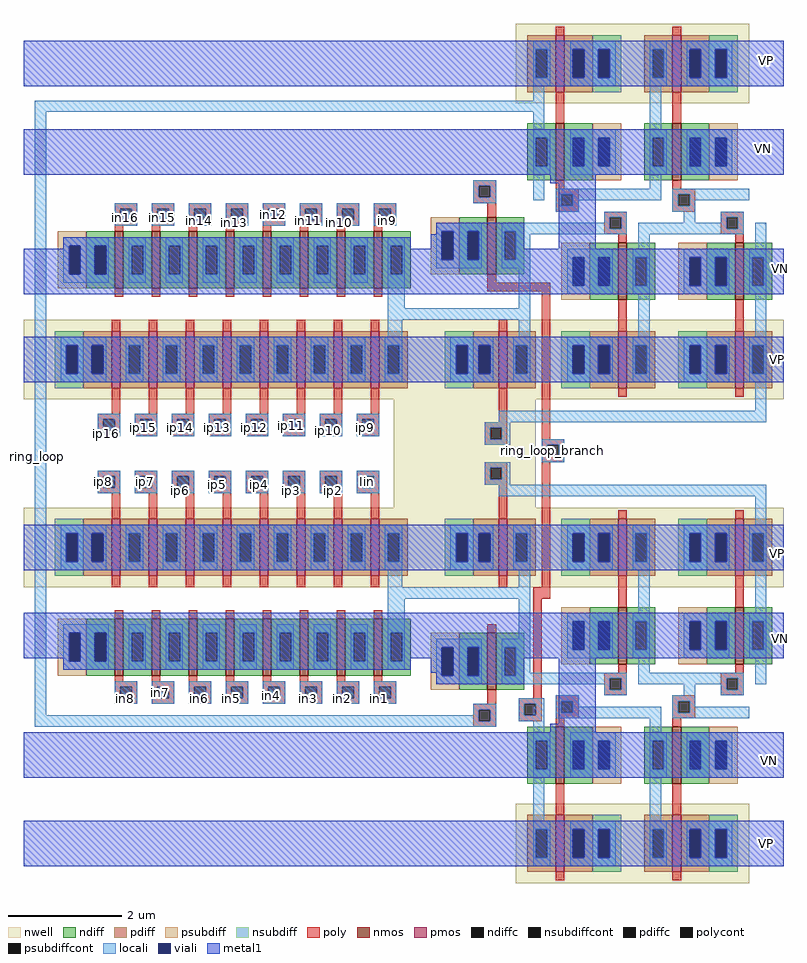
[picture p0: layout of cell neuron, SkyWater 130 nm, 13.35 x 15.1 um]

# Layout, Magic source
magic
tech sky130A
<< poly >>
rect 780 1040 890 1055
rect 875 780 890 1040
rect 875 770 915 780
rect 875 750 885 770
rect 905 750 915 770
rect 875 740 915 750
rect 550 715 590 725
rect 550 695 560 715
rect 580 695 590 715
rect 550 685 590 695
rect 875 520 890 740
rect 860 500 890 520
rect 860 325 875 500
rect 835 315 875 325
rect 755 305 795 315
rect 755 285 765 305
rect 785 285 795 305
rect 835 295 845 315
rect 865 295 875 315
rect 835 285 875 295
rect 755 275 795 285
<< polycont >>
rect 885 750 905 770
rect 560 695 580 715
rect 765 285 785 305
rect 845 295 865 315
<< locali >>
rect -15 1355 880 1375
rect -15 295 5 1355
rect 1051 1200 1066 1220
rect 125 1155 165 1195
rect 190 1155 230 1195
rect 255 1155 295 1195
rect 320 1155 360 1195
rect 385 1155 425 1195
rect 450 1155 490 1195
rect 515 1155 555 1195
rect 580 1155 620 1195
rect 95 785 135 825
rect 160 785 200 825
rect 225 785 265 825
rect 290 785 330 825
rect 355 785 395 825
rect 420 785 460 825
rect 485 785 525 825
rect 550 785 590 825
rect 875 770 915 780
rect 875 750 885 770
rect 905 750 915 770
rect 875 740 915 750
rect 95 685 135 725
rect 160 685 200 725
rect 225 685 265 725
rect 290 685 330 725
rect 355 685 395 725
rect 420 685 460 725
rect 485 685 525 725
rect 550 715 590 725
rect 550 695 560 715
rect 580 695 590 715
rect 550 685 590 695
rect 125 315 165 355
rect 190 315 230 355
rect 255 315 295 355
rect 320 315 360 355
rect 385 315 425 355
rect 450 315 490 355
rect 515 315 555 355
rect 580 315 620 355
rect 1052 350 1096 370
rect 835 315 880 325
rect 755 305 795 315
rect 755 295 765 305
rect -15 285 765 295
rect 785 285 795 305
rect 835 295 845 315
rect 865 310 880 315
rect 865 295 875 310
rect 835 285 875 295
rect 1051 290 1067 310
rect -15 275 795 285
<< metal1 >>
rect 1265 1440 1275 1450
rect 1260 1285 1270 1295
rect 1290 1075 1300 1085
rect 1285 915 1295 925
rect 1285 575 1295 585
rect 1290 425 1300 435
rect 1270 210 1280 220
rect 1265 65 1275 75
use pg17Input8p8n_para_1n  pg17Input8p8n_para_1n_0
transform 1 0 895 0 1 335
box -930 -335 405 420
use pg17Input8p8n_para_1n  pg17Input8p8n_para_1n_1
transform 1 0 895 0 -1 1175
box -930 -335 405 420
<< labels >>
rlabel locali -10 750 -10 750 1 ring_loop
rlabel locali 590 325 590 325 1 in1
port 1 n
rlabel locali 525 325 525 325 1 in2
port 2 n
rlabel locali 465 325 465 325 1 in3
port 3 n
rlabel locali 400 330 400 330 1 in4
port 4 n
rlabel locali 330 325 330 325 1 in5
port 5 n
rlabel locali 275 325 275 325 1 in6
port 6 n
rlabel locali 205 335 205 335 1 in7
port 7 n
rlabel locali 145 325 145 325 1 in8
port 8 n
rlabel locali 605 1165 605 1165 1 in9
port 9 n
rlabel locali 520 1160 520 1160 1 in10
port 10 n
rlabel locali 465 1165 465 1165 1 in11
port 11 n
rlabel locali 405 1175 405 1175 1 in12
port 12 n
rlabel locali 335 1160 335 1160 1 in13
port 13 n
rlabel locali 275 1165 275 1165 1 in14
port 14 n
rlabel locali 210 1170 210 1170 1 in15
port 15 n
rlabel locali 145 1170 145 1170 1 in16
port 16 n
rlabel metal1 1270 70 1270 70 1 VP
rlabel metal1 1275 215 1275 215 1 VN
rlabel metal1 1295 430 1295 430 7 VN
rlabel metal1 1290 580 1290 580 1 VP
rlabel locali 510 690 510 690 1 ip2
port 18 n
rlabel locali 435 690 435 690 1 ip3
port 19 n
rlabel locali 380 700 380 700 1 ip4
port 20 n
rlabel locali 305 700 305 700 1 ip5
port 21 n
rlabel locali 240 690 240 690 1 ip6
port 22 n
rlabel locali 180 705 180 705 1 ip7
port 23 n
rlabel locali 105 705 105 705 1 ip8
port 24 n
rlabel locali 565 800 565 800 1 ip9
port 25 n
rlabel locali 500 795 500 795 1 ip10
port 26 n
rlabel locali 435 805 435 805 1 ip11
port 27 n
rlabel locali 370 800 370 800 1 ip12
port 28 n
rlabel locali 305 800 305 800 1 ip13
port 29 n
rlabel locali 240 800 240 800 1 ip14
port 30 n
rlabel locali 175 800 175 800 1 ip15
port 31 n
rlabel locali 110 790 110 790 1 ip16
port 32 n
rlabel metal1 1290 920 1290 920 1 VP
rlabel metal1 1295 1080 1295 1080 7 VN
rlabel metal1 1265 1290 1265 1290 1 VN
port 34 n
rlabel metal1 1270 1445 1270 1445 1 VP
port 33 n
rlabel locali 550 685 590 725 7 Iin
port 14 w
rlabel locali 565 695 565 695 1 ip1
port 17 n
rlabel locali 875 740 915 780 1 ring_loop_branch
port 35 n
<< end >>

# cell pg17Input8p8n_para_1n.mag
magic
tech sky130A
<< nwell >>
rect -280 325 -30 420
rect -930 185 -5 325
<< nmos >>
rect -770 30 -755 130
rect -705 30 -690 130
rect -640 30 -625 130
rect -575 30 -560 130
rect -510 30 -495 130
rect -445 30 -430 130
rect -380 30 -365 130
rect -315 30 -300 130
rect -115 5 -100 105
<< pmos >>
rect -775 205 -760 305
rect -710 205 -695 305
rect -645 205 -630 305
rect -580 205 -565 305
rect -515 205 -500 305
rect -450 205 -435 305
rect -385 205 -370 305
rect -320 205 -305 305
rect -95 205 -80 305
<< ndiff >>
rect -820 105 -770 130
rect -820 55 -805 105
rect -785 55 -770 105
rect -820 30 -770 55
rect -755 105 -705 130
rect -755 55 -740 105
rect -720 55 -705 105
rect -755 30 -705 55
rect -690 105 -640 130
rect -690 55 -675 105
rect -655 55 -640 105
rect -690 30 -640 55
rect -625 105 -575 130
rect -625 55 -610 105
rect -590 55 -575 105
rect -625 30 -575 55
rect -560 105 -510 130
rect -560 55 -545 105
rect -525 55 -510 105
rect -560 30 -510 55
rect -495 105 -445 130
rect -495 55 -480 105
rect -460 55 -445 105
rect -495 30 -445 55
rect -430 105 -380 130
rect -430 55 -415 105
rect -395 55 -380 105
rect -430 30 -380 55
rect -365 105 -315 130
rect -365 55 -350 105
rect -330 55 -315 105
rect -365 30 -315 55
rect -300 105 -250 130
rect -300 55 -285 105
rect -265 55 -250 105
rect -300 30 -250 55
rect -165 80 -115 105
rect -165 30 -150 80
rect -130 30 -115 80
rect -165 5 -115 30
rect -100 80 -50 105
rect -100 30 -85 80
rect -65 30 -50 80
rect -100 5 -50 30
<< pdiff >>
rect -825 280 -775 305
rect -825 230 -810 280
rect -790 230 -775 280
rect -825 205 -775 230
rect -760 280 -710 305
rect -760 230 -745 280
rect -725 230 -710 280
rect -760 205 -710 230
rect -695 280 -645 305
rect -695 230 -680 280
rect -660 230 -645 280
rect -695 205 -645 230
rect -630 280 -580 305
rect -630 230 -615 280
rect -595 230 -580 280
rect -630 205 -580 230
rect -565 280 -515 305
rect -565 230 -550 280
rect -530 230 -515 280
rect -565 205 -515 230
rect -500 280 -450 305
rect -500 230 -485 280
rect -465 230 -450 280
rect -500 205 -450 230
rect -435 280 -385 305
rect -435 230 -420 280
rect -400 230 -385 280
rect -435 205 -385 230
rect -370 280 -320 305
rect -370 230 -355 280
rect -335 230 -320 280
rect -370 205 -320 230
rect -305 280 -255 305
rect -305 230 -290 280
rect -270 230 -255 280
rect -305 205 -255 230
rect -140 280 -95 305
rect -140 230 -130 280
rect -110 230 -95 280
rect -140 205 -95 230
rect -80 280 -30 305
rect -80 230 -65 280
rect -45 230 -30 280
rect -80 205 -30 230
<< ndiffc >>
rect -805 55 -785 105
rect -740 55 -720 105
rect -675 55 -655 105
rect -610 55 -590 105
rect -545 55 -525 105
rect -480 55 -460 105
rect -415 55 -395 105
rect -350 55 -330 105
rect -285 55 -265 105
rect -150 30 -130 80
rect -85 30 -65 80
<< pdiffc >>
rect -810 230 -790 280
rect -745 230 -725 280
rect -680 230 -660 280
rect -615 230 -595 280
rect -550 230 -530 280
rect -485 230 -465 280
rect -420 230 -400 280
rect -355 230 -335 280
rect -290 230 -270 280
rect -130 230 -110 280
rect -65 230 -45 280
<< psubdiff >>
rect -870 105 -820 130
rect -870 55 -850 105
rect -830 55 -820 105
rect -870 30 -820 55
rect -215 80 -165 105
rect -215 30 -195 80
rect -175 30 -165 80
rect -215 5 -165 30
<< nsubdiff >>
rect -875 280 -825 305
rect -875 230 -855 280
rect -835 230 -825 280
rect -875 205 -825 230
rect -190 280 -140 305
rect -190 230 -170 280
rect -150 230 -140 280
rect -190 205 -140 230
<< psubdiffcont >>
rect -850 55 -830 105
rect -195 30 -175 80
<< nsubdiffcont >>
rect -855 230 -835 280
rect -170 230 -150 280
<< poly >>
rect -120 395 -80 405
rect -800 380 -760 390
rect -800 360 -790 380
rect -770 360 -760 380
rect -800 350 -760 360
rect -735 380 -695 390
rect -735 360 -725 380
rect -705 360 -695 380
rect -735 350 -695 360
rect -670 380 -630 390
rect -670 360 -660 380
rect -640 360 -630 380
rect -670 350 -630 360
rect -605 380 -565 390
rect -605 360 -595 380
rect -575 360 -565 380
rect -605 350 -565 360
rect -540 380 -500 390
rect -540 360 -530 380
rect -510 360 -500 380
rect -540 350 -500 360
rect -475 380 -435 390
rect -475 360 -465 380
rect -445 360 -435 380
rect -475 350 -435 360
rect -410 380 -370 390
rect -410 360 -400 380
rect -380 360 -370 380
rect -410 350 -370 360
rect -345 380 -305 390
rect -345 360 -335 380
rect -315 360 -305 380
rect -120 375 -110 395
rect -90 375 -80 395
rect -120 365 -80 375
rect -345 350 -305 360
rect -775 305 -760 350
rect -710 305 -695 350
rect -645 305 -630 350
rect -580 305 -565 350
rect -515 305 -500 350
rect -450 305 -435 350
rect -385 305 -370 350
rect -320 305 -305 350
rect -95 305 -80 365
rect -775 185 -760 205
rect -710 185 -695 205
rect -645 185 -630 205
rect -580 185 -565 205
rect -515 185 -500 205
rect -450 185 -435 205
rect -385 185 -370 205
rect -320 185 -305 205
rect -95 185 -80 205
rect -770 130 -755 145
rect -705 130 -690 145
rect -640 130 -625 145
rect -575 130 -560 145
rect -510 130 -495 145
rect -445 130 -430 145
rect -380 130 -365 145
rect -315 130 -300 145
rect -115 105 -100 120
rect -770 20 -755 30
rect -705 20 -690 30
rect -640 20 -625 30
rect -575 20 -560 30
rect -510 20 -495 30
rect -445 20 -430 30
rect -380 20 -365 30
rect -315 20 -300 30
rect -770 10 -730 20
rect -770 -10 -760 10
rect -740 -10 -730 10
rect -770 -20 -730 -10
rect -705 10 -665 20
rect -705 -10 -695 10
rect -675 -10 -665 10
rect -705 -20 -665 -10
rect -640 10 -600 20
rect -640 -10 -630 10
rect -610 -10 -600 10
rect -640 -20 -600 -10
rect -575 10 -535 20
rect -575 -10 -565 10
rect -545 -10 -535 10
rect -575 -20 -535 -10
rect -510 10 -470 20
rect -510 -10 -500 10
rect -480 -10 -470 10
rect -510 -20 -470 -10
rect -445 10 -405 20
rect -445 -10 -435 10
rect -415 -10 -405 10
rect -445 -20 -405 -10
rect -380 10 -340 20
rect -380 -10 -370 10
rect -350 -10 -340 10
rect -380 -20 -340 -10
rect -315 10 -275 20
rect -315 -10 -305 10
rect -285 -10 -275 10
rect -315 -20 -275 -10
rect -115 -20 -100 5
rect -140 -30 -100 -20
rect -140 -50 -130 -30
rect -110 -50 -100 -30
rect -140 -60 -100 -50
rect 5 -56 12 -9
<< polycont >>
rect -790 360 -770 380
rect -725 360 -705 380
rect -660 360 -640 380
rect -595 360 -575 380
rect -530 360 -510 380
rect -465 360 -445 380
rect -400 360 -380 380
rect -335 360 -315 380
rect -110 375 -90 395
rect -760 -10 -740 10
rect -695 -10 -675 10
rect -630 -10 -610 10
rect -565 -10 -545 10
rect -500 -10 -480 10
rect -435 -10 -415 10
rect -370 -10 -350 10
rect -305 -10 -285 10
rect -130 -50 -110 -30
<< locali >>
rect -120 395 -75 405
rect -800 380 -760 390
rect -800 360 -790 380
rect -770 360 -760 380
rect -800 350 -760 360
rect -735 380 -695 390
rect -735 360 -725 380
rect -705 360 -695 380
rect -735 350 -695 360
rect -670 380 -630 390
rect -670 360 -660 380
rect -640 360 -630 380
rect -670 350 -630 360
rect -605 380 -565 390
rect -605 360 -595 380
rect -575 360 -565 380
rect -605 350 -565 360
rect -540 380 -500 390
rect -540 360 -530 380
rect -510 360 -500 380
rect -540 350 -500 360
rect -475 380 -435 390
rect -475 360 -465 380
rect -445 360 -435 380
rect -475 350 -435 360
rect -410 380 -370 390
rect -410 360 -400 380
rect -380 360 -370 380
rect -410 350 -370 360
rect -345 380 -305 390
rect -345 360 -335 380
rect -315 360 -305 380
rect -120 375 -110 395
rect -90 375 -75 395
rect -120 365 -75 375
rect -345 350 -305 360
rect -95 345 375 365
rect 355 295 375 345
rect -865 280 -785 295
rect -865 230 -855 280
rect -835 230 -810 280
rect -790 230 -785 280
rect -865 215 -785 230
rect -750 280 -720 295
rect -750 230 -745 280
rect -725 230 -720 280
rect -750 215 -720 230
rect -685 280 -655 295
rect -685 230 -680 280
rect -660 230 -655 280
rect -685 215 -655 230
rect -620 280 -590 295
rect -620 230 -615 280
rect -595 230 -590 280
rect -620 215 -590 230
rect -555 280 -525 295
rect -555 230 -550 280
rect -530 230 -525 280
rect -555 215 -525 230
rect -490 280 -460 295
rect -490 230 -485 280
rect -465 230 -460 280
rect -490 215 -460 230
rect -425 280 -395 295
rect -425 230 -420 280
rect -400 230 -395 280
rect -425 215 -395 230
rect -360 280 -330 295
rect -360 230 -355 280
rect -335 230 -330 280
rect -360 215 -330 230
rect -295 280 -265 295
rect -295 230 -290 280
rect -270 230 -265 280
rect -295 215 -265 230
rect -180 280 -105 295
rect -180 230 -170 280
rect -150 230 -130 280
rect -110 230 -105 280
rect -180 215 -105 230
rect -70 280 -40 295
rect -70 230 -65 280
rect -45 230 -40 280
rect -70 215 -40 230
rect -290 185 -265 215
rect -60 185 -40 215
rect -290 165 -40 185
rect -860 105 -780 120
rect -860 55 -850 105
rect -830 55 -805 105
rect -785 55 -780 105
rect -860 40 -780 55
rect -745 105 -715 120
rect -745 55 -740 105
rect -720 55 -715 105
rect -745 40 -715 55
rect -680 105 -650 120
rect -680 55 -675 105
rect -655 55 -650 105
rect -680 40 -650 55
rect -615 105 -585 120
rect -615 55 -610 105
rect -590 55 -585 105
rect -615 40 -585 55
rect -550 105 -520 120
rect -550 55 -545 105
rect -525 55 -520 105
rect -550 40 -520 55
rect -485 105 -455 120
rect -485 55 -480 105
rect -460 55 -455 105
rect -485 40 -455 55
rect -420 105 -390 120
rect -420 55 -415 105
rect -395 55 -390 105
rect -420 40 -390 55
rect -355 105 -325 120
rect -355 55 -350 105
rect -330 55 -325 105
rect -355 40 -325 55
rect -290 105 -260 165
rect -290 55 -285 105
rect -265 55 -260 105
rect -60 95 -40 165
rect -290 40 -260 55
rect -205 80 -125 95
rect -205 30 -195 80
rect -175 30 -150 80
rect -130 30 -125 80
rect -770 10 -730 20
rect -770 -10 -760 10
rect -740 -10 -730 10
rect -770 -20 -730 -10
rect -705 10 -665 20
rect -705 -10 -695 10
rect -675 -10 -665 10
rect -705 -20 -665 -10
rect -640 10 -600 20
rect -640 -10 -630 10
rect -610 -10 -600 10
rect -640 -20 -600 -10
rect -575 10 -535 20
rect -575 -10 -565 10
rect -545 -10 -535 10
rect -575 -20 -535 -10
rect -510 10 -470 20
rect -510 -10 -500 10
rect -480 -10 -470 10
rect -510 -20 -470 -10
rect -445 10 -405 20
rect -445 -10 -435 10
rect -415 -10 -405 10
rect -445 -20 -405 -10
rect -380 10 -340 20
rect -380 -10 -370 10
rect -350 -10 -340 10
rect -380 -20 -340 -10
rect -315 10 -275 20
rect -205 15 -125 30
rect -90 80 -40 95
rect -90 30 -85 80
rect -65 35 -40 80
rect -65 30 -5 35
rect -90 15 -5 30
rect 10 15 20 35
rect 150 15 202 35
rect -315 -10 -305 10
rect -285 -10 -275 10
rect -315 -20 -275 -10
rect 230 -15 250 25
rect -140 -30 -100 -20
rect -140 -50 -130 -30
rect -110 -50 -100 -30
rect 140 -45 170 -25
rect -140 -60 -100 -50
rect -33 -195 -19 -168
<< viali >>
rect -855 230 -835 280
rect -810 230 -790 280
rect -170 230 -150 280
rect -130 230 -110 280
rect -850 55 -830 105
rect -805 55 -785 105
rect -195 30 -175 80
rect -150 30 -130 80
<< metal1 >>
rect -930 280 -5 295
rect -930 230 -855 280
rect -835 230 -810 280
rect -790 230 -170 280
rect -150 230 -130 280
rect -110 230 -5 280
rect -930 220 -5 230
rect -930 215 20 220
rect -930 105 105 140
rect -930 60 -850 105
rect -860 55 -850 60
rect -830 55 -805 105
rect -785 80 105 105
rect -785 60 -195 80
rect -785 55 -250 60
rect -860 40 -250 55
rect -215 35 -195 60
rect -205 30 -195 35
rect -175 30 -150 80
rect -130 60 105 80
rect -130 30 -50 60
rect -205 15 -50 30
rect 10 -55 75 60
rect -5 -70 75 -55
rect -930 -150 -65 -70
rect -5 -150 140 -70
rect 210 -150 405 -70
rect -930 -305 -65 -225
rect 345 -305 405 -225
use inverter  inverter_1
transform 1 0 345 0 1 70
box -145 -75 60 255
use inverter  inverter_0
transform 1 0 140 0 1 70
box -145 -75 60 255
use inverter  inverter_2
transform -1 0 200 0 -1 -80
box -145 -75 60 255
use inverter  inverter_3
transform -1 0 -5 0 -1 -80
box -145 -75 60 255
<< labels >>
rlabel locali 140 -35 140 -35 7 xe
rlabel space 142 -115 142 -115 7 VN
port 3 w
rlabel metal1 -15 85 10 110 7 VN
port 15 w
rlabel locali -345 350 -305 390 7 Iin
port 14 w
rlabel locali -410 370 -410 370 7 Jin
port 16 w
rlabel locali -475 370 -475 370 7 Kin
port 17 w
rlabel locali -540 370 -540 370 7 Lin
port 18 w
rlabel locali -605 370 -605 370 1 Min
port 19 n
rlabel locali -670 370 -670 370 1 Nin
port 20 n
rlabel locali -735 370 -735 370 1 Oin
port 21 n
rlabel locali -800 370 -800 370 7 Pin
port 22 w
rlabel metal1 375 -265 375 -265 7 VP
rlabel locali -25 -180 -25 -180 7 xout
rlabel locali -305 -15 -305 -15 7 Ain
port 0 w
rlabel locali -380 0 -380 0 1 bin
port 1 n
rlabel locali -380 0 -380 0 7 Bin
port 2 w
rlabel locali -510 -20 -470 20 7 Din
port 7 w
rlabel poly -640 -20 -600 20 7 Fin
port 9 w
rlabel locali -705 -20 -665 20 3 Gin
port 10 e
rlabel locali -770 -20 -730 20 7 Hin
port 11 w
rlabel locali -445 -20 -405 20 7 Cin
port 13 w
rlabel locali -575 -20 -535 20 7 Ein
port 8 w
rlabel metal1 -260 95 -260 95 3 VN
rlabel metal1 -930 95 -930 95 3 VN
rlabel metal1 -925 255 -925 255 7 VP
port 5 w
rlabel locali 35 355 35 355 7 reset_loop
rlabel space 215 -45 215 -45 1 inv2input
rlabel locali -30 -185 -20 -175 7 xout
port 4 w
rlabel locali 175 25 175 25 1 pgnode
rlabel polycont -125 -40 -125 -40 1 n_para
port 23 n
<< end >>

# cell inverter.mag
magic
tech sky130A
<< nwell >>
rect -145 115 60 255
<< nmos >>
rect -25 -20 -10 80
<< pmos >>
rect -25 135 -10 235
<< ndiff >>
rect -75 55 -25 80
rect -75 5 -60 55
rect -40 5 -25 55
rect -75 -20 -25 5
rect -10 55 40 80
rect -10 5 5 55
rect 25 5 40 55
rect -10 -20 40 5
<< pdiff >>
rect -75 210 -25 235
rect -75 160 -60 210
rect -40 160 -25 210
rect -75 135 -25 160
rect -10 210 40 235
rect -10 160 5 210
rect 25 160 40 210
rect -10 135 40 160
<< ndiffc >>
rect -60 5 -40 55
rect 5 5 25 55
<< pdiffc >>
rect -60 160 -40 210
rect 5 160 25 210
<< psubdiff >>
rect -125 55 -75 80
rect -125 5 -105 55
rect -85 5 -75 55
rect -125 -20 -75 5
<< nsubdiff >>
rect -125 210 -75 235
rect -125 160 -105 210
rect -85 160 -75 210
rect -125 135 -75 160
<< psubdiffcont >>
rect -105 5 -85 55
<< nsubdiffcont >>
rect -105 160 -85 210
<< poly >>
rect -25 235 -10 250
rect -25 80 -10 135
rect -25 -35 -10 -20
rect -50 -45 -10 -35
rect -50 -65 -40 -45
rect -20 -65 -10 -45
rect -50 -75 -10 -65
<< polycont >>
rect -40 -65 -20 -45
<< locali >>
rect -115 210 -35 225
rect -115 160 -105 210
rect -85 160 -60 210
rect -40 160 -35 210
rect -115 145 -35 160
rect 0 210 30 225
rect 0 160 5 210
rect 25 160 30 210
rect 0 145 30 160
rect 10 70 30 145
rect -115 55 -35 70
rect -115 5 -105 55
rect -85 5 -60 55
rect -40 5 -35 55
rect -115 -10 -35 5
rect 0 55 30 70
rect 0 5 5 55
rect 25 5 30 55
rect 0 -10 30 5
rect -145 -45 -10 -35
rect -145 -55 -40 -45
rect -50 -65 -40 -55
rect -20 -65 -10 -45
rect 10 -55 30 -10
rect -50 -75 -10 -65
<< viali >>
rect -105 160 -85 210
rect -60 160 -40 210
rect -105 5 -85 55
rect -60 5 -40 55
<< metal1 >>
rect -145 210 60 225
rect -145 160 -105 210
rect -85 160 -60 210
rect -40 160 60 210
rect -145 145 60 160
rect -145 55 60 70
rect -145 5 -105 55
rect -85 5 -60 55
rect -40 5 60 55
rect -145 -10 60 5
<< labels >>
rlabel locali -145 -45 -145 -45 7 A
port 1 w
rlabel locali 23 -33 23 -33 1 Y
port 2 n
rlabel metal1 -141 185 -141 185 3 VP
port 3 e
rlabel metal1 -138 26 -138 26 1 VN
port 4 n
<< end >>
